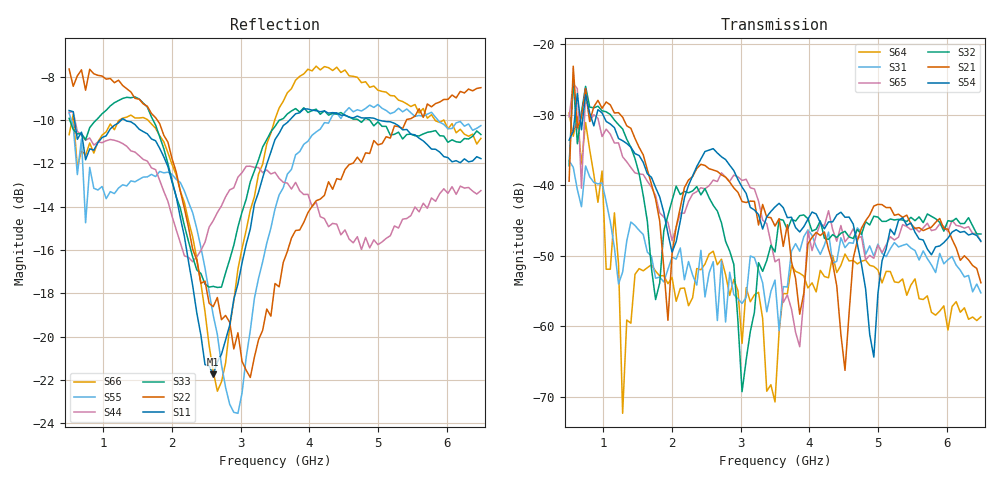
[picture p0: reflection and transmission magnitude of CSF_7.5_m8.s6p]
!Keysight Technologies,M9804A,MY58100912,A.14.10.03
!Date: Thursday, April 27, 2023 10:28:33
!Correction: S11(C  6-Port  )
!S12(C  6-Port  )
!S13(C  6-Port  )
!S14(C  6-Port  )
!S15(C  6-Port  )
!S16(C  6-Port  )
!S21(C  6-Port  )
!S22(C  6-Port  )
!S23(C  6-Port  )
!S24(C  6-Port  )
!S25(C  6-Port  )
!S26(C  6-Port  )
!S31(C  6-Port  )
!S32(C  6-Port  )
!S33(C  6-Port  )
!S34(C  6-Port  )
!S35(C  6-Port  )
!S36(C  6-Port  )
!S41(C  6-Port  )
!S42(C  6-Port  )
!S43(C  6-Port  )
!S44(C  6-Port  )
!S45(C  6-Port  )
!S46(C  6-Port  )
!S51(C  6-Port  )
!S52(C  6-Port  )
!S53(C  6-Port  )
!S54(C  6-Port  )
!S55(C  6-Port  )
!S56(C  6-Port  )
!S61(C  6-Port  )
!S62(C  6-Port  )
!S63(C  6-Port  )
!S64(C  6-Port  )
!S65(C  6-Port  )
!S66(C  6-Port  )
!S6P File: Measurement: :
# Hz S  RI  R 50
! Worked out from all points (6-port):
!   101 points, 500 MHz to 6.5 GHz, reference 50 ohm
!   strongest paths, dB at 500 MHz, 2 GHz, 3.5 GHz, 5 GHz, 6.5 GHz:
!     S54: -33.6, -49.5, -43.1, -55.3, -47.9
!     S21: -39.4, -49.8, -45.8, -42.7, -53.8
!     S32: -37.2, -42.2, -49.5, -44.5, -46.9
!     S65: -30.3, -47.9, -50.9, -48.5, -48.0
!     S31: -36.5, -50.2, -53.5, -48.4, -55.3
!     S64: -29.7, -53.1, -70.8, -52.0, -58.7
!   lowest |S11| = -21.7 dB at 2.6 GHz (marker M1), VSWR 1.18, Z = 42.7 + j2.09 ohm
!   |S11| at or under -10 dB: 578.3 MHz to 1.259 GHz (680.4 MHz wide, 74.1 % of centre); 1.316 GHz to 3.713 GHz (2.396 GHz wide, 95.3 % of centre); 5.011 GHz to end of sweep
